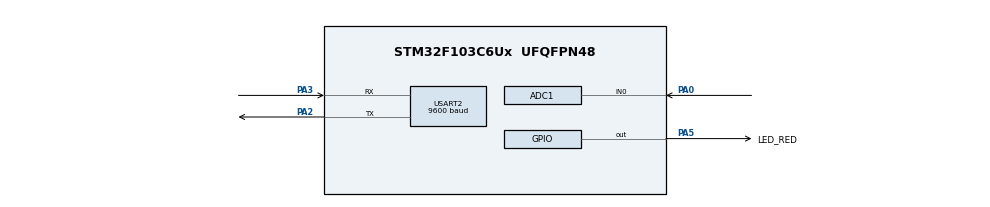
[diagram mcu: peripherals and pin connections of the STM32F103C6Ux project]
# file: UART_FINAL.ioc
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ADC1.Channel-1\#ChannelRegularConversion=ADC_CHANNEL_0
ADC1.ContinuousConvMode=ENABLE
ADC1.NbrOfConversionFlag=1
ADC1.Rank-1\#ChannelRegularConversion=1
ADC1.SamplingTime-1\#ChannelRegularConversion=ADC_SAMPLETIME_1CYCLE_5
ADC1.master=1
Mcu.Family=STM32F1
Mcu.Name=STM32F103C6Ux
Mcu.Package=UFQFPN48
NVIC.ADC1_2_IRQn=true\:0\:0\:false\:false\:true\:true\:true
NVIC.PriorityGroup=NVIC_PRIORITYGROUP_4
NVIC.USART2_IRQn=true\:0\:0\:false\:false\:true\:true\:true
PA0-WKUP.Signal=ADCx_IN0
PA2.Mode=Asynchronous
PA2.Signal=USART2_TX
PA3.Mode=Asynchronous
PA3.Signal=USART2_RX
PA5.GPIO_Label=LED_RED
PA5.Signal=GPIO_Output
PA6.Signal=S_TIM3_CH1
ProjectManager.HeapSize=0x200
ProjectManager.StackSize=0x400
ProjectManager.TargetToolchain=STM32CubeIDE
RCC.APB1Freq_Value=8000000
RCC.APB2Freq_Value=8000000
SH.ADCx_IN0.0=ADC1_IN0,IN0
SH.S_TIM3_CH1.0=TIM3_CH1
USART2.BaudRate=9600
USART2.VirtualMode=VM_ASYNC
VP_SYS_VS_ND.Mode=No_Debug
board=custom

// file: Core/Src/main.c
/* USER CODE BEGIN Header */
/**
  ******************************************************************************
  * @file           : main.c
  * @brief          : Main program body
  ******************************************************************************
  * @attention
  *
  * <h2><center>&copy; Copyright (c) 2025 STMicroelectronics.
  * All rights reserved.</center></h2>
  *
  * This software component is licensed by ST under BSD 3-Clause license,
  * the "License"; You may not use this file except in compliance with the
  * License. You may obtain a copy of the License at:
  *                        opensource.org/licenses/BSD-3-Clause
  *
  ******************************************************************************
  */
/* USER CODE END Header */
#include "main.h"
#include <string.h>
#include <stdio.h>

ADC_HandleTypeDef hadc1;

UART_HandleTypeDef huart2;

/* USER CODE BEGIN PV */
#define MAX_BUFFER_SIZE 30
uint8_t temp = 0;
uint8_t buffer[MAX_BUFFER_SIZE];
uint8_t index_buffer = 0;
uint8_t buffer_flag = 0;
int timer = 0;
void HAL_UART_RxCpltCallback(UART_HandleTypeDef *huart){
	if(huart->Instance == USART2){
		//HAL_UART_Transmit(&huart2, &temp, 1, 50);
		buffer[index_buffer++] = temp;
		if(index_buffer == 30) index_buffer = 0;
		buffer_flag = 1;
		HAL_UART_Receive_IT(&huart2, &temp, 1);
	}
}
/* USER CODE END PV */

void SystemClock_Config(void);
static void MX_GPIO_Init(void);
static void MX_ADC1_Init(void);
static void MX_USART2_UART_Init(void);

/* USER CODE BEGIN 0 */
int state=1;
void uart_communiation_fsm(char *str)
{
	timer+=1;
	if(timer==300)
	{
		timer=0;
		unsigned int len = strlen(str);
		//HAL_UART_Transmit(&huart2, (uint8_t *)str, len, 10);
		if(state==1){
			HAL_UART_Transmit(&huart2, (uint8_t *)str, len, 10);
		}
	}
}
void command_parser_fsm()
{

}
/* USER CODE END 0 */

int main(void)
{

  /* MCU Configuration--------------------------------------------------------*/

  /* Reset of all peripherals, Initializes the Flash interface and the Systick. */
  HAL_Init();

  /* Configure the system clock */
  SystemClock_Config();

  /* Initialize all configured peripherals */
  MX_GPIO_Init();
  MX_ADC1_Init();
  MX_USART2_UART_Init();
  /* USER CODE BEGIN 2 */
  HAL_UART_Receive_IT(&huart2, &temp, 1);
  /* USER CODE END 2 */

  /* Infinite loop */
  /* USER CODE BEGIN WHILE */
  uint32_t ADC_value =0;
  char str[20];
  while (1)
  {
	  //HAL_GPIO_TogglePin(LED_RED_GPIO_Port, LED_RED_Pin);
	  if(buffer_flag == 1){
		   command_parser_fsm();
		   buffer_flag = 0;
	   }
	  ADC_value = HAL_ADC_GetValue(&hadc1);
	  sprintf(str, "!ADCvalue=%ld #\n", ADC_value);
	  uart_communiation_fsm(str);
	  HAL_Delay(10);
//	  ADC_value = HAL_ADC_GetValue(&hadc1);
//	  sprintf(str, "!ADCvalue=%ld#\r\n", ADC_value);
//	  unsigned int len = strlen(str);
//	  HAL_UART_Transmit(&huart2, (uint8_t *)str, len, 1000);
//	  HAL_Delay(500);
    /* USER CODE END WHILE */

  }
}

void SystemClock_Config(void)
{
  RCC_OscInitTypeDef RCC_OscInitStruct = {0};
  RCC_ClkInitTypeDef RCC_ClkInitStruct = {0};
  RCC_PeriphCLKInitTypeDef PeriphClkInit = {0};

  /** Initializes the RCC Oscillators according to the specified parameters
  * in the RCC_OscInitTypeDef structure.
  */
  RCC_OscInitStruct.OscillatorType = RCC_OSCILLATORTYPE_HSI;
  RCC_OscInitStruct.HSIState = RCC_HSI_ON;
  RCC_OscInitStruct.HSICalibrationValue = RCC_HSICALIBRATION_DEFAULT;
  RCC_OscInitStruct.PLL.PLLState = RCC_PLL_NONE;
  if (HAL_RCC_OscConfig(&RCC_OscInitStruct) != HAL_OK)
  {
    Error_Handler();
  }
  /** Initializes the CPU, AHB and APB buses clocks
  */
  RCC_ClkInitStruct.ClockType = RCC_CLOCKTYPE_HCLK|RCC_CLOCKTYPE_SYSCLK
                              |RCC_CLOCKTYPE_PCLK1|RCC_CLOCKTYPE_PCLK2;
  RCC_ClkInitStruct.SYSCLKSource = RCC_SYSCLKSOURCE_HSI;
  RCC_ClkInitStruct.AHBCLKDivider = RCC_SYSCLK_DIV1;
  RCC_ClkInitStruct.APB1CLKDivider = RCC_HCLK_DIV1;
  RCC_ClkInitStruct.APB2CLKDivider = RCC_HCLK_DIV1;

  if (HAL_RCC_ClockConfig(&RCC_ClkInitStruct, FLASH_LATENCY_0) != HAL_OK)
  {
    Error_Handler();
  }
  PeriphClkInit.PeriphClockSelection = RCC_PERIPHCLK_ADC;
  PeriphClkInit.AdcClockSelection = RCC_ADCPCLK2_DIV2;
  if (HAL_RCCEx_PeriphCLKConfig(&PeriphClkInit) != HAL_OK)
  {
    Error_Handler();
  }
}

static void MX_ADC1_Init(void)
{

  ADC_ChannelConfTypeDef sConfig = {0};

  /** Common config
  */
  hadc1.Instance = ADC1;
  hadc1.Init.ScanConvMode = ADC_SCAN_DISABLE;
  hadc1.Init.ContinuousConvMode = ENABLE;
  hadc1.Init.DiscontinuousConvMode = DISABLE;
  hadc1.Init.ExternalTrigConv = ADC_SOFTWARE_START;
  hadc1.Init.DataAlign = ADC_DATAALIGN_RIGHT;
  hadc1.Init.NbrOfConversion = 1;
  if (HAL_ADC_Init(&hadc1) != HAL_OK)
  {
    Error_Handler();
  }
  /** Configure Regular Channel
  */
  sConfig.Channel = ADC_CHANNEL_0;
  sConfig.Rank = ADC_REGULAR_RANK_1;
  sConfig.SamplingTime = ADC_SAMPLETIME_1CYCLE_5;
  if (HAL_ADC_ConfigChannel(&hadc1, &sConfig) != HAL_OK)
  {
    Error_Handler();
  }

}

static void MX_USART2_UART_Init(void)
{

  huart2.Instance = USART2;
  huart2.Init.BaudRate = 9600;
  huart2.Init.WordLength = UART_WORDLENGTH_8B;
  huart2.Init.StopBits = UART_STOPBITS_1;
  huart2.Init.Parity = UART_PARITY_NONE;
  huart2.Init.Mode = UART_MODE_TX_RX;
  huart2.Init.HwFlowCtl = UART_HWCONTROL_NONE;
  huart2.Init.OverSampling = UART_OVERSAMPLING_16;
  if (HAL_UART_Init(&huart2) != HAL_OK)
  {
    Error_Handler();
  }

}

static void MX_GPIO_Init(void)
{
  GPIO_InitTypeDef GPIO_InitStruct = {0};

  /* GPIO Ports Clock Enable */
  __HAL_RCC_GPIOA_CLK_ENABLE();

  /*Configure GPIO pin Output Level */
  HAL_GPIO_WritePin(LED_RED_GPIO_Port, LED_RED_Pin, GPIO_PIN_RESET);

  /*Configure GPIO pin : LED_RED_Pin */
  GPIO_InitStruct.Pin = LED_RED_Pin;
  GPIO_InitStruct.Mode = GPIO_MODE_OUTPUT_PP;
  GPIO_InitStruct.Pull = GPIO_NOPULL;
  GPIO_InitStruct.Speed = GPIO_SPEED_FREQ_LOW;
  HAL_GPIO_Init(LED_RED_GPIO_Port, &GPIO_InitStruct);

  /*Configure GPIO pin : PA6 */
  GPIO_InitStruct.Pin = GPIO_PIN_6;
  GPIO_InitStruct.Mode = GPIO_MODE_AF_PP;
  GPIO_InitStruct.Speed = GPIO_SPEED_FREQ_LOW;
  HAL_GPIO_Init(GPIOA, &GPIO_InitStruct);

}

void Error_Handler(void)
{
  __disable_irq();
  while (1)
  {
  }
}

/************************ (C) COPYRIGHT STMicroelectronics *****END OF FILE****/
